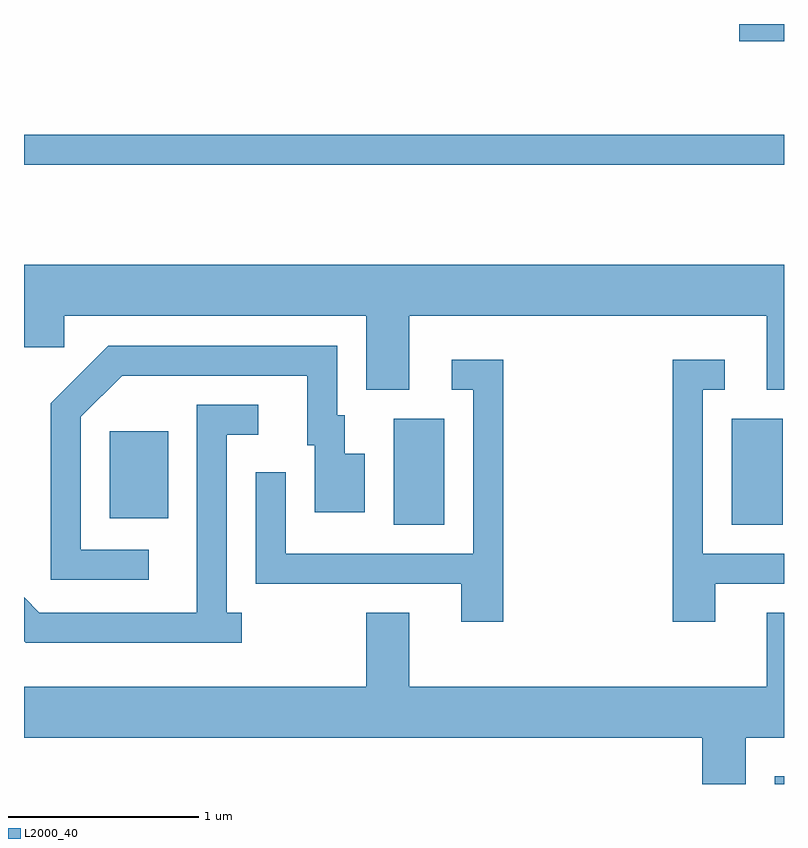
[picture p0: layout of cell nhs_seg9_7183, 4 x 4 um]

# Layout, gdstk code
import gdstk
lib = gdstk.Library(unit=1e-6, precision=1e-09)
def R(c, l, rs):  # rectangles x0, y0, x1, y1
    for r in rs: c.add(gdstk.rectangle(r[:2], r[2:], *l))
def P(c, l, *ps):  # polygons
    for p in ps: c.add(gdstk.Polygon(p, *l))
L2000_40 = (2000, 40)

nhs_seg9_7183 = lib.new_cell('nhs_seg9_7183')
R(nhs_seg9_7183, L2000_40, [(401.561,2020.432,401.611,2020.474), (399.556,2021.796,399.824,2022.354), (401.336,2021.796,401.604,2022.354), (398.061,2021.831,398.369,2022.289), (397.611,2023.691,401.611,2023.849), (401.376,2024.341,401.611,2024.432)])
P(nhs_seg9_7183, L2000_40, [(399.639,2022.896),(401.521,2022.896),(401.521,2022.506),(401.611,2022.506),(401.611,2023.164),(397.611,2023.164),(397.611,2022.731),(397.824,2022.731),(397.824,2022.896),(399.411,2022.896),(399.411,2022.506),(399.639,2022.506)],
  [(398.268,2021.664),(397.909,2021.664),(397.909,2022.364),(398.127,2022.581),(399.101,2022.581),(399.101,2022.216),(399.141,2022.216),(399.141,2021.861),(399.404,2021.861),(399.404,2022.169),(399.299,2022.169),(399.299,2022.374),(399.259,2022.374),(399.259,2022.739),(398.054,2022.739),(397.751,2022.437),(397.751,2021.506),(398.268,2021.506)],
  [(400.134,2022.664),(399.863,2022.664),(399.863,2022.506),(399.976,2022.506),(399.976,2021.644),(398.989,2021.644),(398.989,2022.073),(398.831,2022.073),(398.831,2021.486),(399.911,2021.486),(399.911,2021.286),(400.134,2021.286)],
  [(401.249,2021.486),(401.611,2021.486),(401.611,2021.644),(401.184,2021.644),(401.184,2022.506),(401.298,2022.506),(401.298,2022.664),(401.026,2022.664),(401.026,2021.286),(401.249,2021.286)],
  [(398.758,2021.334),(398.679,2021.334),(398.679,2022.271),(398.843,2022.271),(398.843,2022.429),(398.521,2022.429),(398.521,2021.334),(397.692,2021.334),(397.611,2021.415),(397.611,2021.184),(397.619,2021.176),(398.758,2021.176)],
  [(401.409,2020.676),(401.611,2020.676),(401.611,2021.334),(401.521,2021.334),(401.521,2020.944),(399.639,2020.944),(399.639,2021.334),(399.411,2021.334),(399.411,2020.944),(397.611,2020.944),(397.611,2020.676),(401.181,2020.676),(401.181,2020.432),(401.409,2020.432)])

lib.write_gds('nhs_seg9_7183.gds')
